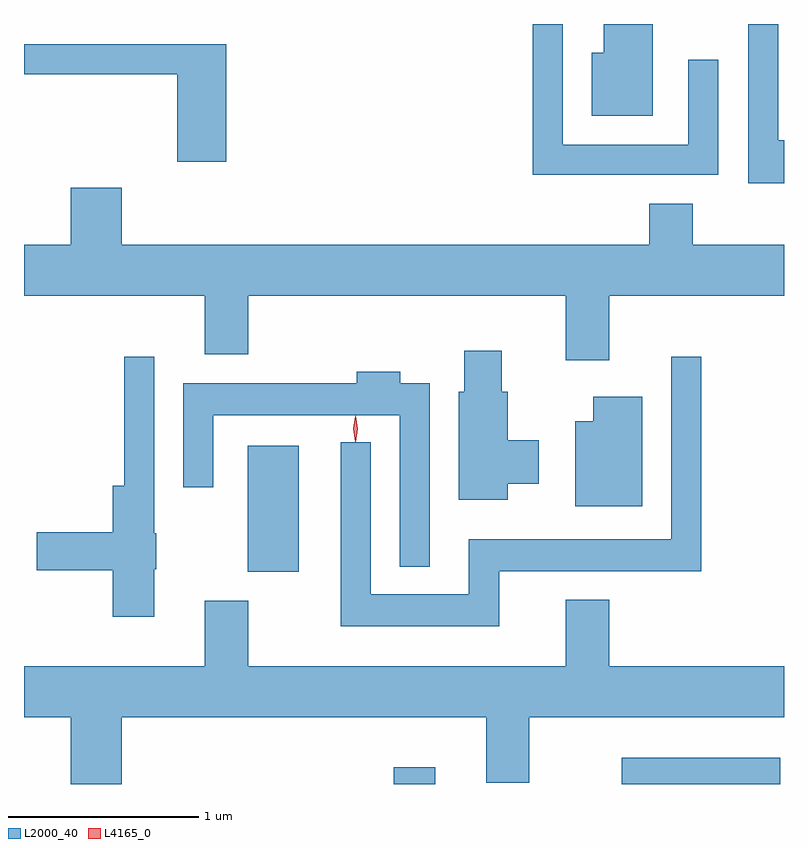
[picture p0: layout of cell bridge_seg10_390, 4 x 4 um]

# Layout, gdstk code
import gdstk
lib = gdstk.Library(unit=1e-6, precision=1e-09)
def R(c, l, rs):  # rectangles x0, y0, x1, y1
    for r in rs: c.add(gdstk.rectangle(r[:2], r[2:], *l))
def P(c, l, *ps):  # polygons
    for p in ps: c.add(gdstk.Polygon(p, *l))
L2000_40 = (2000, 40)
L4165_0 = (4165, 0)

bridge_seg10_390 = lib.new_cell('bridge_seg10_390')
R(bridge_seg10_390, L2000_40, [(1415.576,2113.565,1415.794,2113.654), (1416.776,2113.565,1417.609,2113.704), (1414.806,2114.681,1415.074,2115.344)])
P(bridge_seg10_390, L2000_40, [(1416.939,2117.565),(1416.681,2117.565),(1416.681,2117.414),(1416.616,2117.414),(1416.616,2117.081),(1416.939,2117.081)],
  [(1417.284,2117.378),(1417.126,2117.378),(1417.126,2116.929),(1416.464,2116.929),(1416.464,2117.565),(1416.306,2117.565),(1416.306,2116.771),(1417.284,2116.771)],
  [(1417.629,2116.954),(1417.599,2116.954),(1417.599,2117.565),(1417.441,2117.565),(1417.441,2116.726),(1417.629,2116.726)],
  [(1414.694,2117.459),(1413.629,2117.459),(1413.629,2117.301),(1414.436,2117.301),(1414.436,2116.841),(1414.694,2116.841)],
  [(1416.709,2116.136),(1417.629,2116.136),(1417.629,2116.404),(1417.149,2116.404),(1417.149,2116.619),(1416.921,2116.619),(1416.921,2116.404),(1414.144,2116.404),(1414.144,2116.704),(1413.876,2116.704),(1413.876,2116.404),(1413.629,2116.404),(1413.629,2116.136),(1414.581,2116.136),(1414.581,2115.826),(1414.809,2115.826),(1414.809,2116.136),(1416.481,2116.136),(1416.481,2115.796),(1416.709,2115.796)],
  [(1416.174,2115.146),(1416.339,2115.146),(1416.339,2115.374),(1416.174,2115.374),(1416.174,2115.629),(1416.144,2115.629),(1416.144,2115.844),(1415.946,2115.844),(1415.946,2115.629),(1415.916,2115.629),(1415.916,2115.061),(1416.174,2115.061)],
  [(1416.129,2114.686),(1417.194,2114.686),(1417.194,2115.813),(1417.036,2115.813),(1417.036,2114.854),(1415.971,2114.854),(1415.971,2114.564),(1415.454,2114.564),(1415.454,2115.363),(1415.296,2115.363),(1415.296,2114.396),(1416.129,2114.396)],
  [(1414.314,2114.695),(1414.324,2114.695),(1414.324,2114.885),(1414.314,2114.885),(1414.314,2115.813),(1414.156,2115.813),(1414.156,2115.134),(1414.096,2115.134),(1414.096,2114.889),(1413.696,2114.889),(1413.696,2114.691),(1414.096,2114.691),(1414.096,2114.446),(1414.314,2114.446)],
  [(1415.764,2115.674),(1415.609,2115.674),(1415.609,2115.734),(1415.381,2115.734),(1415.381,2115.674),(1414.466,2115.674),(1414.466,2115.128),(1414.624,2115.128),(1414.624,2115.506),(1415.606,2115.506),(1415.606,2114.708),(1415.764,2114.708)],
  [(1416.884,2115.604),(1416.626,2115.604),(1416.626,2115.474),(1416.531,2115.474),(1416.531,2115.026),(1416.884,2115.026)],
  [(1414.144,2113.916),(1416.061,2113.916),(1416.061,2113.571),(1416.289,2113.571),(1416.289,2113.916),(1417.629,2113.916),(1417.629,2114.184),(1416.709,2114.184),(1416.709,2114.534),(1416.481,2114.534),(1416.481,2114.184),(1414.809,2114.184),(1414.809,2114.529),(1414.581,2114.529),(1414.581,2114.184),(1413.629,2114.184),(1413.629,2113.916),(1413.876,2113.916),(1413.876,2113.565),(1414.144,2113.565)])
P(bridge_seg10_390, L4165_0, [(1415.372,2115.367),(1415.363,2115.434),(1415.372,2115.5),(1415.373,2115.5),(1415.373,2115.5),(1415.383,2115.434),(1415.373,2115.367),(1415.373,2115.367)],
  [(1415.374,2115.364),(1415.365,2115.434),(1415.374,2115.502),(1415.375,2115.503),(1415.375,2115.502),(1415.385,2115.434),(1415.375,2115.364),(1415.375,2115.364)])

lib.write_gds('bridge_seg10_390.gds')
